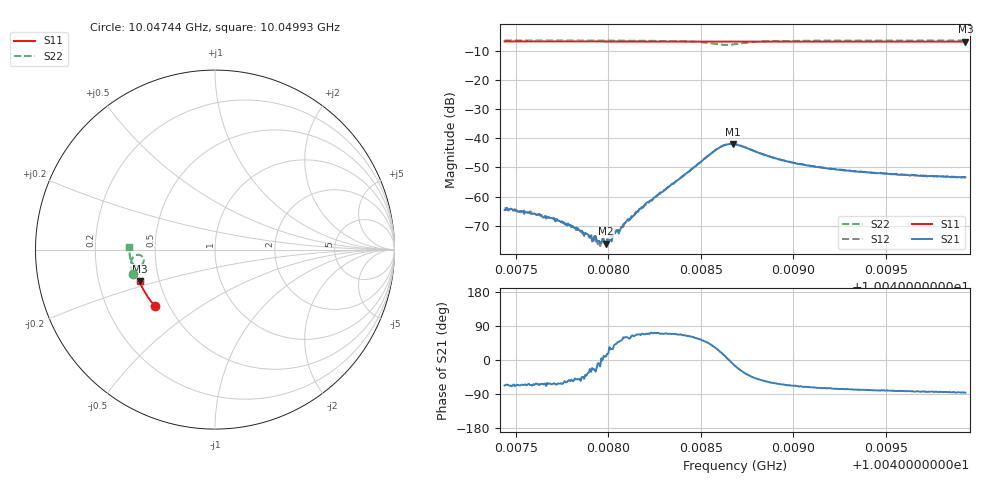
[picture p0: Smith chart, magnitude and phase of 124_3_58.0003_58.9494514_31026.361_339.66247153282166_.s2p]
#  HZ  S  RI  R  50.00
! Rohde & Schwarz Vector Network Analyzer
! Rohde-Schwarz,ZNB20-2Port,1311601062101988,3.16
! Created: UTC 3/21/2024, 12:55:51 AM
! freq[Hz]  re:S11  im:S11  re:S21  im:S21  re:S12  im:S12  re:S22  im:S22
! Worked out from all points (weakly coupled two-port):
!   401 points, 10.04744 GHz to 10.04993 GHz, reference 50 ohm
!   highest |S21| = -41.97 dB at 10.04867 GHz (marker M1); lowest = -76.2 dB at 10.04799 GHz (marker M2)
!   lowest |S11| = -6.8 dB at 10.04993 GHz (marker M3), VSWR 2.67, Z = 19.3 - j8.6 ohm
!   |S11| at or under -10 dB: nowhere
!   |S22| runs from -7.9 to -6.4 dB; largest |S21 - S12| = 0.00057
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1.0047439e10  -0.3349 -0.3157  0.000225 -0.000539  0.000287 -0.000556  -0.459 -0.1342
1.0047482e10  -0.3367 -0.3135  0.000236 -0.000548  0.000285 -0.000502  -0.4597 -0.1313
1.0047688e10  -0.3456 -0.3031  0.000194 -0.000385  0.000214 -0.000358  -0.4631 -0.1164
1.0047806e10  -0.3505 -0.2969  0.000177 -0.000258  0.000169 -0.000248  -0.4648 -0.1079
1.0047856e10  -0.3526 -0.2943  0.000185 -0.000184  0.000174 -0.000165  -0.4653 -0.1039
1.0047918e10  -0.3551 -0.291  0.000158 -7.53e-05  0.000162 -8.2e-05  -0.466 -0.0988
1.0047943e10  -0.356 -0.2897  0.000167 -2.43e-05  0.000143 -4.68e-05  -0.4663 -0.0968
1.0047987e10  -0.3579 -0.2874  0.000152 2.51e-05  0.00015 4.14e-05  -0.4666 -0.0932
1.0048012e10  -0.3589 -0.2861  0.000159 8.45e-05  0.000178 0.000128  -0.4668 -0.0911
1.0048036e10  -0.3599 -0.2848  0.000178 0.000155  0.000181 0.000173  -0.4669 -0.0889
1.0048061e10  -0.3609 -0.2834  0.000166 0.000198  0.000161 0.000234  -0.467 -0.0868
1.0048092e10  -0.362 -0.2818  0.00018 0.00031  0.000178 0.000302  -0.4671 -0.084
1.0048161e10  -0.3649 -0.2781  0.00021 0.000509  0.000196 0.000533  -0.4673 -0.0773
1.0048273e10  -0.369 -0.2719  0.000365 0.00104  0.000293 0.00107  -0.4661 -0.0654
1.0048584e10  -0.3798 -0.2545  0.00559 0.00319  0.00545 0.00355  -0.4145 -0.0321
1.0048628e10  -0.3812 -0.2523  0.00752 0.00146  0.00741 0.00189  -0.399 -0.049
1.0048672e10  -0.3827 -0.25  0.00785 -0.00136  0.008 -0.00087  -0.4001 -0.0739
1.0048684e10  -0.383 -0.2495  0.00759 -0.00211  0.00778 -0.00161  -0.4034 -0.08
1.0048902e10  -0.3909 -0.2373  0.00216 -0.00399  0.0024 -0.00386  -0.4605 -0.0762
1.0049101e10  -0.3974 -0.2258  0.00101 -0.00316  0.00121 -0.0031  -0.471 -0.0531
1.0049519e10  -0.4097 -0.2012  0.000388 -0.00242  0.000523 -0.0024  -0.4761 -0.0178
1.004993e10  -0.4202 -0.1761  0.000142 -0.00212  0.000269 -0.00213  -0.4764 0.0123
